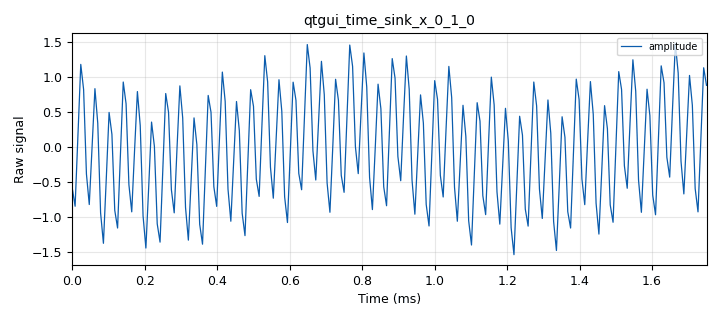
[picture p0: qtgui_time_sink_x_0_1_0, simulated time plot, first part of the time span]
<?xml version='1.0' encoding='utf-8'?>
<?grc format='1' created='3.7.11'?>
<flow_graph>
<block>
<key>options</key>
<param><key>id</key><value>B4_short_term_fourier_static</value></param>
<param><key>generate_options</key><value>qt_gui</value></param>
</block>
<block>
<key>variable_tag_object</key>
<param><key>id</key><value>beam_in_tag</value></param>
<param><key>key</key><value>pmt.intern("acq_info")</value></param>
<param><key>offset</key><value>1024</value></param>
<param><key>src</key><value>0</value></param>
<param><key>value</key><value>pmt.make_tuple(pmt.from_uint64(0), pmt.from_double(0.0), pmt.from_double(0.0), pmt.from_double(0.0), pmt.from_long(0), pmt.from_long(0), pmt.from_long(0), pmt.from_uint64(0), pmt.from_uint64(0), pmt.from_bool(True))</value></param>
</block>
<block>
<key>variable_qtgui_range</key>
<param><key>id</key><value>freq</value></param>
<param><key>value</key><value>0.2*samp_rate</value></param>
<param><key>gui_hint</key><value>0,0,1,2</value></param>
<param><key>label</key><value>RF Frequency [Hz]</value></param>
<param><key>orient</key><value>Qt.Horizontal</value></param>
<param><key>start</key><value>1</value></param>
<param><key>step</key><value>1</value></param>
<param><key>stop</key><value>samp_rate/2</value></param>
</block>
<block>
<key>variable</key>
<param><key>id</key><value>nbins</value></param>
<param><key>value</key><value>512</value></param>
</block>
<block>
<key>variable</key>
<param><key>id</key><value>samp_rate</value></param>
<param><key>value</key><value>128000</value></param>
</block>
<block>
<key>variable</key>
<param><key>id</key><value>win_size</value></param>
<param><key>value</key><value>512</value></param>
</block>
<block>
<key>analog_sig_source_x</key>
<param><key>id</key><value>analog_sig_source_x_0</value></param>
<param><key>amp</key><value>1</value></param>
<param><key>freq</key><value>freq</value></param>
<param><key>offset</key><value>0</value></param>
<param><key>type</key><value>float</value></param>
<param><key>samp_rate</key><value>samp_rate</value></param>
<param><key>waveform</key><value>analog.GR_SIN_WAVE</value></param>
</block>
<block>
<key>analog_sig_source_x</key>
<param><key>id</key><value>analog_sig_source_x_0_0</value></param>
<param><key>amp</key><value>0.3</value></param>
<param><key>freq</key><value>1000</value></param>
<param><key>offset</key><value>0</value></param>
<param><key>type</key><value>float</value></param>
<param><key>samp_rate</key><value>samp_rate</value></param>
<param><key>waveform</key><value>analog.GR_SIN_WAVE</value></param>
</block>
<block>
<key>analog_sig_source_x</key>
<param><key>id</key><value>analog_sig_source_x_0_0_0</value></param>
<param><key>amp</key><value>0.3</value></param>
<param><key>freq</key><value>8000</value></param>
<param><key>offset</key><value>0</value></param>
<param><key>type</key><value>float</value></param>
<param><key>samp_rate</key><value>samp_rate</value></param>
<param><key>waveform</key><value>analog.GR_SIN_WAVE</value></param>
</block>
<block>
<key>blocks_add_xx</key>
<param><key>id</key><value>blocks_add_xx_0</value></param>
<param><key>type</key><value>float</value></param>
<param><key>num_inputs</key><value>3</value></param>
</block>
<block>
<key>blocks_multiply_const_vxx</key>
<param><key>id</key><value>blocks_multiply_const_vxx_0_0</value></param>
<param><key>const</key><value>[1.0/nbins] * nbins</value></param>
<param><key>type</key><value>float</value></param>
<param><key>vlen</key><value>nbins</value></param>
</block>
<block>
<key>blocks_nlog10_ff</key>
<param><key>id</key><value>blocks_nlog10_ff_0</value></param>
<param><key>vlen</key><value>nbins</value></param>
<param><key>k</key><value>0</value></param>
<param><key>n</key><value>20</value></param>
</block>
<block>
<key>blocks_nlog10_ff</key>
<param><key>id</key><value>blocks_nlog10_ff_0_0</value></param>
<param><key>vlen</key><value>nbins</value></param>
<param><key>k</key><value>0</value></param>
<param><key>n</key><value>20</value></param>
</block>
<block>
<key>blocks_nlog10_ff</key>
<param><key>id</key><value>blocks_nlog10_ff_0_0_0</value></param>
<param><key>vlen</key><value>nbins</value></param>
<param><key>k</key><value>0</value></param>
<param><key>n</key><value>20</value></param>
</block>
<block>
<key>blocks_null_sink</key>
<param><key>id</key><value>blocks_null_sink_0_1</value></param>
<param><key>bus_conns</key><value>[[0,],]</value></param>
<param><key>type</key><value>float</value></param>
<param><key>num_inputs</key><value>6</value></param>
<param><key>vlen</key><value>nbins</value></param>
</block>
<block>
<key>blocks_throttle</key>
<param><key>id</key><value>blocks_throttle_0</value></param>
<param><key>samples_per_second</key><value>samp_rate</value></param>
<param><key>type</key><value>float</value></param>
</block>
<block>
<key>digitizers_stft_algorithms</key>
<param><key>id</key><value>digitizers_stft_algorithms_0</value></param>
<param><key>alg_id</key><value>1</value></param>
<param><key>delta_t</key><value>0.01</value></param>
<param><key>fq_low</key><value>0.0</value></param>
<param><key>nbins</key><value>nbins</value></param>
<param><key>samp_rate</key><value>samp_rate</value></param>
<param><key>fq_hi</key><value>samp_rate/2</value></param>
<param><key>win_type</key><value>firdes.WIN_BLACKMAN_hARRIS</value></param>
<param><key>win_size</key><value>nbins*2</value></param>
</block>
<block>
<key>digitizers_stft_algorithms</key>
<param><key>id</key><value>digitizers_stft_algorithms_0_0</value></param>
<param><key>alg_id</key><value>0</value></param>
<param><key>delta_t</key><value>0.01</value></param>
<param><key>fq_low</key><value>0.0</value></param>
<param><key>nbins</key><value>nbins</value></param>
<param><key>samp_rate</key><value>samp_rate</value></param>
<param><key>fq_hi</key><value>samp_rate/2</value></param>
<param><key>win_type</key><value>firdes.WIN_RECTANGULAR</value></param>
<param><key>win_size</key><value>nbins</value></param>
</block>
<block>
<key>digitizers_stft_algorithms</key>
<param><key>id</key><value>digitizers_stft_algorithms_0_1</value></param>
<param><key>alg_id</key><value>2</value></param>
<param><key>delta_t</key><value>0.01</value></param>
<param><key>fq_low</key><value>0.0</value></param>
<param><key>nbins</key><value>nbins</value></param>
<param><key>samp_rate</key><value>samp_rate</value></param>
<param><key>fq_hi</key><value>samp_rate/2</value></param>
<param><key>win_type</key><value>firdes.WIN_BLACKMAN_hARRIS</value></param>
<param><key>win_size</key><value>nbins</value></param>
</block>
<block>
<key>qtgui_time_sink_x</key>
<param><key>id</key><value>qtgui_time_sink_x_0_1_0</value></param>
<param><key>autoscale</key><value>True</value></param>
<param><key>gui_hint</key><value>1,0</value></param>
<param><key>color1</key><value>"blue"</value></param>
<param><key>label1</key><value>amplitude</value></param>
<param><key>size</key><value>nbins</value></param>
<param><key>srate</key><value>samp_rate</value></param>
<param><key>type</key><value>float</value></param>
<param><key>update_time</key><value>0.00000020</value></param>
<param><key>ylabel</key><value>Raw signal</value></param>
</block>
<block>
<key>qtgui_vector_sink_f</key>
<param><key>id</key><value>qtgui_vector_sink_f_0</value></param>
<param><key>gui_hint</key><value>1,1</value></param>
<param><key>grid</key><value>True</value></param>
<param><key>label1</key><value>Goertzel </value></param>
<param><key>width1</key><value>2</value></param>
<param><key>label2</key><value>FFT</value></param>
<param><key>width2</key><value>2</value></param>
<param><key>label3</key><value>DFT</value></param>
<param><key>nconnections</key><value>3</value></param>
<param><key>showports</key><value>True</value></param>
<param><key>vlen</key><value>nbins</value></param>
<param><key>x_axis_label</key><value>"norm. frequency [samp_rate]"</value></param>
<param><key>x_start</key><value>0</value></param>
<param><key>x_step</key><value>0.5/nbins</value></param>
<param><key>x_units</key><value>"samp_rate"</value></param>
<param><key>ymax</key><value>5</value></param>
<param><key>ymin</key><value>-75</value></param>
<param><key>y_axis_label</key><value>"amplitude [dB]"</value></param>
<param><key>y_units</key><value>"[dB]"</value></param>
</block>
<connection><source_block_id>analog_sig_source_x_0</source_block_id><sink_block_id>blocks_add_xx_0</sink_block_id><source_key>0</source_key><sink_key>1</sink_key></connection>
<connection><source_block_id>analog_sig_source_x_0_0</source_block_id><sink_block_id>blocks_add_xx_0</sink_block_id><source_key>0</source_key><sink_key>0</sink_key></connection>
<connection><source_block_id>analog_sig_source_x_0_0_0</source_block_id><sink_block_id>blocks_add_xx_0</sink_block_id><source_key>0</source_key><sink_key>2</sink_key></connection>
<connection><source_block_id>blocks_add_xx_0</source_block_id><sink_block_id>blocks_throttle_0</sink_block_id><source_key>0</source_key><sink_key>0</sink_key></connection>
<connection><source_block_id>blocks_add_xx_0</source_block_id><sink_block_id>digitizers_stft_algorithms_0</sink_block_id><source_key>0</source_key><sink_key>0</sink_key></connection>
<connection><source_block_id>blocks_add_xx_0</source_block_id><sink_block_id>digitizers_stft_algorithms_0_0</sink_block_id><source_key>0</source_key><sink_key>0</sink_key></connection>
<connection><source_block_id>blocks_add_xx_0</source_block_id><sink_block_id>digitizers_stft_algorithms_0_1</sink_block_id><source_key>0</source_key><sink_key>0</sink_key></connection>
<connection><source_block_id>blocks_multiply_const_vxx_0_0</source_block_id><sink_block_id>blocks_nlog10_ff_0</sink_block_id><source_key>0</source_key><sink_key>0</sink_key></connection>
<connection><source_block_id>blocks_nlog10_ff_0</source_block_id><sink_block_id>qtgui_vector_sink_f_0</sink_block_id><source_key>0</source_key><sink_key>1</sink_key></connection>
<connection><source_block_id>blocks_nlog10_ff_0_0</source_block_id><sink_block_id>qtgui_vector_sink_f_0</sink_block_id><source_key>0</source_key><sink_key>0</sink_key></connection>
<connection><source_block_id>blocks_nlog10_ff_0_0_0</source_block_id><sink_block_id>qtgui_vector_sink_f_0</sink_block_id><source_key>0</source_key><sink_key>2</sink_key></connection>
<connection><source_block_id>blocks_throttle_0</source_block_id><sink_block_id>qtgui_time_sink_x_0_1_0</sink_block_id><source_key>0</source_key><sink_key>0</sink_key></connection>
<connection><source_block_id>digitizers_stft_algorithms_0</source_block_id><sink_block_id>blocks_nlog10_ff_0_0</sink_block_id><source_key>0</source_key><sink_key>0</sink_key></connection>
<connection><source_block_id>digitizers_stft_algorithms_0</source_block_id><sink_block_id>blocks_null_sink_0_1</sink_block_id><source_key>2</source_key><sink_key>5</sink_key></connection>
<connection><source_block_id>digitizers_stft_algorithms_0</source_block_id><sink_block_id>blocks_null_sink_0_1</sink_block_id><source_key>1</source_key><sink_key>4</sink_key></connection>
<connection><source_block_id>digitizers_stft_algorithms_0_0</source_block_id><sink_block_id>blocks_multiply_const_vxx_0_0</sink_block_id><source_key>0</source_key><sink_key>0</sink_key></connection>
<connection><source_block_id>digitizers_stft_algorithms_0_0</source_block_id><sink_block_id>blocks_null_sink_0_1</sink_block_id><source_key>2</source_key><sink_key>3</sink_key></connection>
<connection><source_block_id>digitizers_stft_algorithms_0_0</source_block_id><sink_block_id>blocks_null_sink_0_1</sink_block_id><source_key>1</source_key><sink_key>2</sink_key></connection>
<connection><source_block_id>digitizers_stft_algorithms_0_1</source_block_id><sink_block_id>blocks_nlog10_ff_0_0_0</sink_block_id><source_key>0</source_key><sink_key>0</sink_key></connection>
<connection><source_block_id>digitizers_stft_algorithms_0_1</source_block_id><sink_block_id>blocks_null_sink_0_1</sink_block_id><source_key>2</source_key><sink_key>1</sink_key></connection>
<connection><source_block_id>digitizers_stft_algorithms_0_1</source_block_id><sink_block_id>blocks_null_sink_0_1</sink_block_id><source_key>1</source_key><sink_key>0</sink_key></connection>
</flow_graph>
